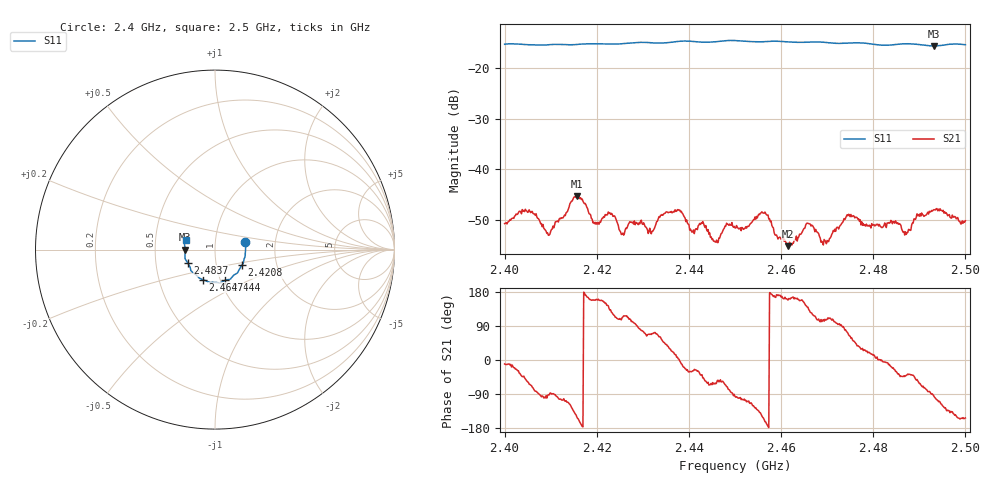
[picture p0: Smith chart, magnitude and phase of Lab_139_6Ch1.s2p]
# Hz S RI R 50
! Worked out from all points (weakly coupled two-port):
!   601 points, 2.4 GHz to 2.5 GHz, reference 50 ohm
!   highest |S21| = -45.31 dB at 2.4157 GHz (marker M1); lowest = -55.2 dB at 2.4615 GHz (marker M2)
!   lowest |S11| = -15.6 dB at 2.4932 GHz (marker M3), VSWR 1.40, Z = 35.8 - j0.0653 ohm
!   |S11| at or under -10 dB: start of sweep to end of sweep
!   S12 and S22 are empty: the file has one direction only
!   S11 on the Smith chart (normalised r, x): 2.4 GHz: 1.40, +0.12; 2.4208 GHz: 1.33, -0.24; 2.444 GHz: 1.06, -0.37; 2.4647 GHz: 0.83, -0.29; 2.4837 GHz: 0.73, -0.11; 2.5 GHz: 0.72, +0.08
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2.4e9  0.1674 0.0412  0.00286 -0.000524  0 0  0 0
2.405e9  0.1705 0.00908  0.00202 -0.00316  0 0  0 0
2.409667e9  0.1687 -0.0258  -7.99e-05 -0.00223  0 0  0 0
2.415667e9  0.1604 -0.061  -0.0047 -0.00271  0 0  0 0
2.416667e9  0.1591 -0.068  -0.00497 -0.000739  0 0  0 0
2.420833e9  0.1505 -0.0871  -0.00277 0.00117  0 0  0 0
2.4255e9  0.1346 -0.1112  -0.000855 0.00212  0 0  0 0
2.433333e9  0.1081 -0.1402  0.00138 0.00293  0 0  0 0
2.437833e9  0.0887 -0.1615  0.00393 0.00014  0 0  0 0
2.444e9  0.058 -0.1709  0.00117 -0.00215  0 0  0 0
2.45e9  0.0245 -0.186  -0.000286 -0.00262  0 0  0 0
2.456167e9  -0.0148 -0.1821  -0.00329 -0.00166  0 0  0 0
2.4615e9  -0.0436 -0.1766  -0.00161 0.000648  0 0  0 0
2.464667e9  -0.0673 -0.1671  -0.00223 0.000981  0 0  0 0
2.466667e9  -0.0799 -0.1628  -0.00155 0.00234  0 0  0 0
2.469333e9  -0.0907 -0.1559  -0.000433 0.00198  0 0  0 0
2.474667e9  -0.1201 -0.1304  0.00146 0.00328  0 0  0 0
2.483333e9  -0.1509 -0.0762  0.0029 -0.000639  0 0  0 0
2.483667e9  -0.1525 -0.0733  0.00287 -0.000776  0 0  0 0
2.487e9  -0.1666 -0.0524  0.0018 -0.00161  0 0  0 0
2.493167e9  -0.166 -0.000888  -0.000383 -0.00398  0 0  0 0
2.5e9  -0.1623 0.0527  -0.00276 -0.00141  0 0  0 0
